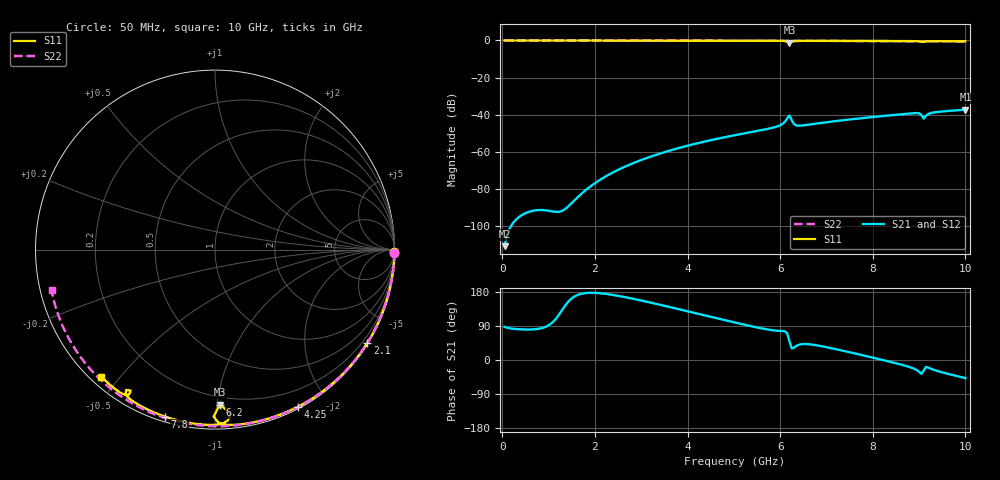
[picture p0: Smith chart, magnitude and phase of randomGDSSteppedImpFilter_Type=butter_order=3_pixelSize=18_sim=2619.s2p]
! freq	dB(S11)	phase(S11)	dB(S12)	phase(S12)
!  dB(S21)	phase(S21)	dB(S22)	phase(S22)
!S-par simulation data
#  GHz  S  DB  R 50
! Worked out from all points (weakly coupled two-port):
!   200 points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, 50 MHz to 10 GHz, reference 50 ohm
!   highest |S21| = -37.35 dB at 10 GHz (marker M1); lowest = -111.0 dB at 50 MHz (marker M2)
!   lowest |S11| = -1.3 dB at 6.2 GHz (marker M3), VSWR 13.81, Z = 7.43 - j51 ohm
!   |S11| at or under -10 dB: nowhere
!   |S22| runs from -0.6 to 0.0 dB; largest |S21 - S12| = 0
!   S11 on the Smith chart (normalised r, x): 50 MHz: open; 2.1 GHz: 0.03, -3.54; 4.25 GHz: 0.02, -1.66; 6.2 GHz: 0.15, -1.02; 7.8 GHz: 0.02, -0.75; 10 GHz: 0.03, -0.45
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0.05  -0.00 -0.8  -110.99 87.5  -110.99 87.5  -0.00 -1.0
0.85  -0.02 -12.9  -91.48 84.0  -91.48 84.0  -0.02 -16.3
1.75  -0.03 -26.4  -81.83 175.8  -81.83 175.8  -0.04 -33.1
1.85  -0.04 -27.9  -79.77 177.1  -79.77 177.1  -0.04 -35.0
2.1  -0.04 -31.5  -75.36 176.3  -75.36 176.3  -0.05 -39.5
2.7  -0.05 -40.3  -67.52 164.6  -67.52 164.6  -0.07 -50.4
3.4  -0.07 -50.2  -61.05 145.9  -61.05 145.9  -0.08 -62.7
4.25  -0.09 -62.0  -55.25 121.3  -55.25 121.3  -0.11 -77.2
5.05  -0.11 -72.9  -50.98 98.2  -50.98 98.2  -0.14 -90.3
5.95  -0.18 -85.5  -46.28 77.0  -46.28 77.0  -0.18 -104.5
6.1  -0.33 -88.9  -43.96 75.8  -43.96 75.8  -0.19 -106.8
6.2  -1.26 -88.2  -40.52 49.8  -40.52 49.8  -0.20 -108.4
6.25  -0.77 -84.5  -43.00 30.6  -43.00 30.6  -0.20 -109.1
6.35  -0.29 -87.0  -45.84 37.2  -45.84 37.2  -0.20 -110.7
6.7  -0.20 -92.8  -45.12 40.4  -45.12 40.4  -0.23 -116.0
7.8  -0.25 -106.6  -41.82 12.0  -41.82 12.0  -0.31 -132.6
8.35  -0.30 -113.2  -40.45 -4.0  -40.45 -4.0  -0.36 -140.9
8.95  -0.42 -121.0  -39.18 -26.5  -39.18 -26.5  -0.42 -149.9
9.05  -0.68 -122.3  -40.19 -36.9  -40.19 -36.9  -0.44 -151.4
9.1  -0.77 -120.8  -42.15 -27.8  -42.15 -27.8  -0.44 -152.1
9.25  -0.41 -122.5  -39.19 -22.9  -39.19 -22.9  -0.46 -154.4
10  -0.45 -131.8  -37.35 -47.8  -37.35 -47.8  -0.55 -166.0
